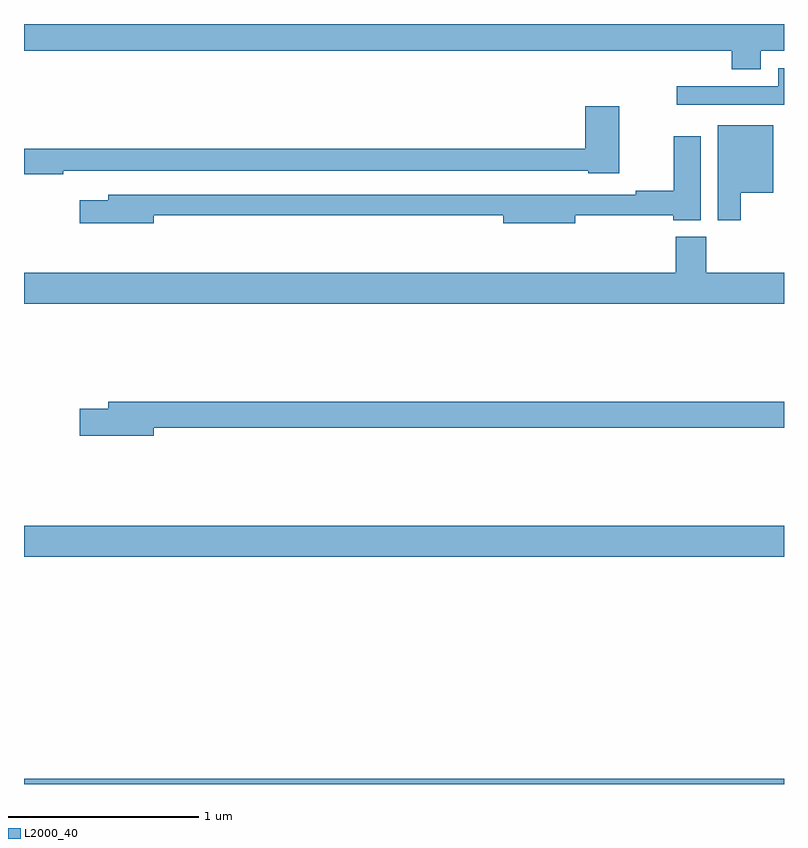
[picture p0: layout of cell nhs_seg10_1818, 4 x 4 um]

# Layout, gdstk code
import gdstk
lib = gdstk.Library(unit=1e-6, precision=1e-09)
def R(c, l, rs):  # rectangles x0, y0, x1, y1
    for r in rs: c.add(gdstk.rectangle(r[:2], r[2:], *l))
def P(c, l, *ps):  # polygons
    for p in ps: c.add(gdstk.Polygon(p, *l))
L2000_40 = (2000, 40)

nhs_seg10_1818 = lib.new_cell('nhs_seg10_1818')
R(nhs_seg10_1818, L2000_40, [(207,1252.5,211,1252.528), (207,1253.696,211,1253.86)])
P(nhs_seg10_1818, L2000_40, [(210.877,1256.36),(211,1256.36),(211,1256.5),(207,1256.5),(207,1256.36),(210.725,1256.36),(210.725,1256.261),(210.877,1256.261)],
  [(211,1256.268),(210.969,1256.268),(210.969,1256.172),(210.435,1256.172),(210.435,1256.076),(211,1256.076)],
  [(207.206,1255.728),(209.97,1255.728),(209.97,1255.715),(210.132,1255.715),(210.132,1256.068),(209.954,1256.068),(209.954,1255.844),(207,1255.844),(207,1255.708),(207.206,1255.708)],
  [(210.772,1255.613),(210.943,1255.613),(210.943,1255.966),(210.65,1255.966),(210.65,1255.467),(210.772,1255.467)],
  [(207.682,1255.494),(209.522,1255.494),(209.522,1255.451),(209.902,1255.451),(209.902,1255.494),(210.416,1255.494),(210.416,1255.466),(210.562,1255.466),(210.562,1255.909),(210.421,1255.909),(210.421,1255.622),(210.22,1255.622),(210.22,1255.602),(207.443,1255.602),(207.443,1255.573),(207.294,1255.573),(207.294,1255.451),(207.682,1255.451)],
  [(211,1255.192),(210.591,1255.192),(210.591,1255.381),(210.431,1255.381),(210.431,1255.192),(207,1255.192),(207,1255.028),(211,1255.028)],
  [(207.682,1254.376),(211,1254.376),(211,1254.512),(207.443,1254.512),(207.443,1254.476),(207.294,1254.476),(207.294,1254.334),(207.682,1254.334)])

lib.write_gds('nhs_seg10_1818.gds')
